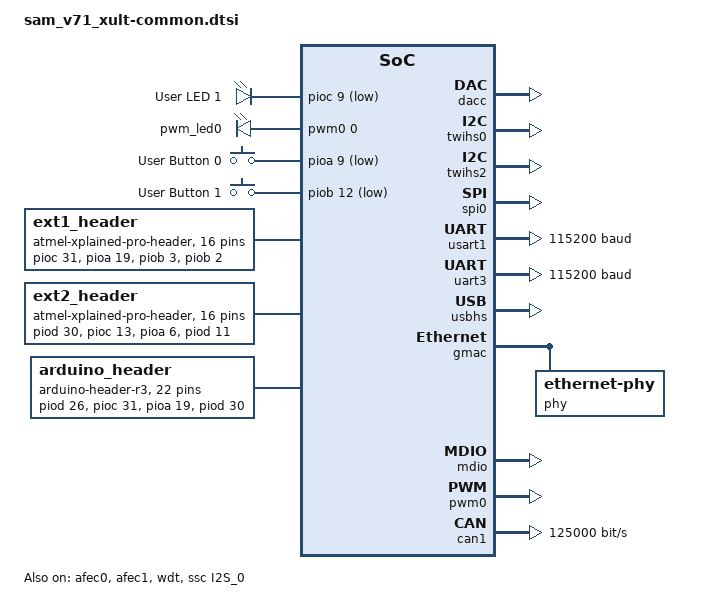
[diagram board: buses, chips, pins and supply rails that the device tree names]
/*
 * Copyright (c) 2017 Piotr Mienkowski
 * Copyright (c) 2017 Justin Watson
 * Copyright (c) 2020 Stephanos Ioannidis <root@stephanos.io>
 * Copyright (c) 2019-2022 Gerson Fernando Budke <nandojve@gmail.com>
 *
 * SPDX-License-Identifier: Apache-2.0
 */

#include "sam_v71_xult-pinctrl.dtsi"

/ {
	aliases {
		i2c-0 = &twihs0;
		i2c-1 = &twihs2;
		led0 = &yellow_led1;
		pwm-led0 = &pwm_led0;
		pwm-0 = &pwm0;
		sw0 = &sw0_user_button;
		sw1 = &sw1_user_button;
		watchdog0 = &wdt;
	};

	chosen {
		zephyr,console = &usart1;
		zephyr,shell-uart = &usart1;
		zephyr,sram = &sram0;
		zephyr,flash = &flash0;
		zephyr,code-partition = &slot0_partition;
		zephyr,canbus = &can1;
	};

	leds {
		compatible = "gpio-leds";
		yellow_led0: led_0 {
			gpios = <&pioa 23 GPIO_ACTIVE_LOW>;
			label = "User LED 0";
			status = "disabled";
		};
		yellow_led1: led_1 {
			gpios = <&pioc 9 GPIO_ACTIVE_LOW>;
			label = "User LED 1";
		};
	};

	pwmleds {
		compatible = "pwm-leds";
		pwm_led0: pwm_led_0 {
			pwms = <&pwm0 0 PWM_MSEC(20)>;
		};
	};

	gpio_keys {
		compatible = "gpio-keys";

		/* The switch is labeled SW300/301 in the schematic, and
		 * labeled SW0 on the board, and labeled ERASE User Button
		 * on docs
		 */
		sw0_user_button: button_1 {
			label = "User Button 0";
			gpios = <&pioa 9 (GPIO_PULL_UP | GPIO_ACTIVE_LOW)>;
		};
		sw1_user_button: button_2 {
			label = "User Button 1";
			gpios = <&piob 12 (GPIO_PULL_UP | GPIO_ACTIVE_LOW)>;
		};
	};

	ext1_header: xplained-pro-connector1 {
		compatible = "atmel-xplained-pro-header";
		#gpio-cells = <2>;
		gpio-map-mask = <0xffffffff 0xffffffc0>;
		gpio-map-pass-thru = <0 0x3f>;		/*           Shared */
		gpio-map =	<0  0 &pioc 31 0>,	/* AFE1 AD6         */
				<1  0 &pioa 19 0>,	/* AFE0 AD8         */
				<2  0 &piob  3 0>,	/* RTS0             */
				<3  0 &piob  2 0>,	/* CTS0             */
				<4  0 &pioa  0 0>,	/* PWMC0_H0         */
				<5  0 &pioc 30 0>,	/* TIOB5            */
				<6  0 &piod 28 0>,	/* WKUP5            */
				<7  0 &pioa  5 0>,	/* GPIO             */
				<8  0 &pioa  3 0>,	/* TWD0        EXT2 */
				<9  0 &pioa  4 0>,	/* TWCK0       EXT2 */
				<10 0 &piob  0 0>,	/* RXD0             */
				<11 0 &piob  1 0>,	/* TXD0             */
				<12 0 &piod 25 0>,	/* SPI0(NPCS1)      */
				<13 0 &piod 21 0>,	/* SPI0(MOSI)  EXT2 */
				<14 0 &piod 20 0>,	/* SPI0(MISO)  EXT2 */
				<15 0 &piod 22 0>;	/* SPI0(SCK)   EXT2 */
							/* GND              */
							/* +3.3V            */
	};

	ext2_header: xplained-pro-connector2 {
		compatible = "atmel-xplained-pro-header";
		#gpio-cells = <2>;
		gpio-map-mask = <0xffffffff 0xffffffc0>;
		gpio-map-pass-thru = <0 0x3f>;		/*           Shared */
		gpio-map =	<0  0 &piod 30 0>,	/* AFE0 AD0         */
				<1  0 &pioc 13 0>,	/* AFE1 AD1         */
				<2  0 &pioa  6 0>,	/* GPIO             */
				<3  0 &piod 11 0>,	/* GPIO             */
				<4  0 &pioc 19 0>,	/* PWMC0_H2         */
				<5  0 &piod 26 0>,	/* PWMC0_L2         */
				<6  0 &pioa  2 0>,	/* WKUP2            */
				<7  0 &pioa 24 0>,	/* GPIO             */
				<8  0 &pioa  3 0>,	/* TWD0        EXT1 */
				<9  0 &pioa  4 0>,	/* TWCK0       EXT1 */
				<10 0 &pioa 21 0>,	/* RXD1             */
				<11 0 &piob  4 0>,	/* TXD1             */
				<12 0 &piod 27 0>,	/* SPI0(NPCS3)      */
				<13 0 &piod 21 0>,	/* SPI0(MOSI)  EXT1 */
				<14 0 &piod 20 0>,	/* SPI0(MISO)  EXT1 */
				<15 0 &piod 22 0>;	/* SPI0(SCK)   EXT1 */
							/* GND              */
							/* +3.3V            */
	};

	arduino_header: connector {
		compatible = "arduino-header-r3";
		#gpio-cells = <2>;
		gpio-map-mask = <0xffffffff 0xffffffc0>;
		gpio-map-pass-thru = <0 0x3f>;		/*           Shared */
		gpio-map =	<0  0 &piod 26 0>,	/*  A0-TD           */
				<1  0 &pioc 31 0>,	/*  A1-AFE1 AD6   y */
				<2  0 &pioa 19 0>,	/*  A2-AFE0 AD8   y */
				<3  0 &piod 30 0>,	/*  A3-AFE0 AD0   y */
				<4  0 &pioc 13 0>,	/*  A4-AFE1 AD1   y */
				<5  0 &pioe  0 0>,	/*  A5-AFE1 AD11    */
				<6  0 &piod 28 0>,	/*  D0-URXD3        */
				<7  0 &piod 30 0>,	/*  D1-UTXD3        */
				<8  0 &pioa  0 0>,	/*  D2-PWMC0_H0     */
				<9  0 &pioa  6 0>,	/*  D3-GPIO         */
				<10 0 &piod 27 0>,	/*  D4-SPI0_NPCS3 y */
				<11 0 &piod 11 0>,	/*  D5-PWMC0_H0     */
				<12 0 &pioc 19 0>,	/*  D6-PWMC0_H2     */
				<13 0 &pioa  2 0>,	/*  D7-PWMC0_H1     */
				<14 0 &pioa  5 0>,	/*  D8-PWMC1_PWML3  */
				<15 0 &pioc  9 0>,	/*  D9-TIOB7        */
				<16 0 &piod 25 0>,	/* D10-SPI0_NPCS1 y */
				<17 0 &piod 21 0>,	/* D11-SPI0_MOSI  y */
				<18 0 &piod 20 0>,	/* D12-SPI0_MISO  y */
				<19 0 &piod 22 0>,	/* D13-SPI0_SPCK  y */
				<20 0 &pioa  3 0>,	/* D14-TWD0       y */
				<21 0 &pioa  4 0>;	/* D15-TWCK0      y */
	};
};

&cpu0 {
	clock-frequency = <300000000>;
};

&afec0 {
	status = "okay";

	pinctrl-0 = <&afec0_default>;
	pinctrl-names = "default";
};

&afec1 {
	status = "okay";

	pinctrl-0 = <&afec1_default>;
	pinctrl-names = "default";
};

&dacc {
	status = "okay";
};

&twihs0 {
	status = "okay";

	pinctrl-0 = <&twihs0_default>;
	pinctrl-names = "default";
};

&twihs2 {
	status = "okay";

	pinctrl-0 = <&twihs2_default>;
	pinctrl-names = "default";
};

&spi0 {
	status = "okay";

	pinctrl-0 = <&spi0_default>;
	pinctrl-names = "default";

	cs-gpios = <&piod 25 GPIO_ACTIVE_LOW>,
		   <&piod 27 GPIO_ACTIVE_LOW>;
};

&usart1 {
	status = "okay";
	current-speed = <115200>;

	pinctrl-0 = <&usart1_default>;
	pinctrl-names = "default";
};

&uart3 {
	status = "okay";
	current-speed = <115200>;


	pinctrl-0 = <&uart3_default>;
	pinctrl-names = "default";
};

&wdt {
	status = "okay";
};

zephyr_udc0: &usbhs {
	status = "okay";
};

&gmac {
	status = "okay";

	pinctrl-0 = <&gmac_rmii>;
	pinctrl-names = "default";

	phy: phy {
		compatible = "ethernet-phy";
		status = "okay";
		address = <0>;
		mdio = <&mdio>;
	};
};

&mdio {
	status = "okay";

	pinctrl-0 = <&mdio_default>;
	pinctrl-names = "default";
};

&pwm0 {
	status = "okay";

	pinctrl-0 = <&pwm_default>;
	pinctrl-names = "default";
};

&pioa {
	status = "okay";
};

&piob {
	status = "okay";
};

&pioc {
	status = "okay";
};

&piod {
	status = "okay";
};

&pioe {
	status = "okay";
};

&flash0 {
	partitions {
		compatible = "fixed-partitions";
		#address-cells = <1>;
		#size-cells = <1>;

		/*
		 * The first half of sector 0 (64 kbytes)
		 * is reserved for the bootloader
		 */
		boot_partition: partition@0 {
			label = "mcuboot";
			reg = <0x0 0x00010000>;
			read-only;
		};

		/* From sector 1 to sector 7 (included): slot0 (896 kbytes) */
		slot0_partition: partition@20000 {
			label = "image-0";
			reg = <0x00020000 0x000e0000>;
		};

		/* From sector 8 to sector 14 (included): slot1 (896 kbytes) */
		slot1_partition: partition@100000 {
			label = "image-1";
			reg = <0x00100000 0x000e0000>;
		};

		/* Sector 15: scratch (128 kbytes) */
		scratch_partition: partition@1e0000 {
			label = "image-scratch";
			reg = <0x001e0000 0x00020000>;
		};
	};
};

&ssc {
	status = "okay";
	label = "I2S_0";

	pinctrl-0 = <&ssc_default>;
	pinctrl-names = "default";

	dma-names = "rx", "tx";
	dmas = <&xdmac 22 DMA_PERID_SSC_RX>, <&xdmac 23 DMA_PERID_SSC_TX>;
};

&can1 {
	status = "okay";

	pinctrl-0 = <&can1_default>;
	pinctrl-names = "default";

	bus-speed = <125000>;
	bus-speed-data = <1000000>;

	can-transceiver {
		max-bitrate = <5000000>;
	};
};

ext1_spi: &spi0 {
};

ext1_i2c: &twihs0 {
};

ext1_serial: &usart0 {
};

ext2_spi: &spi0 {
};

ext2_i2c: &twihs0 {
};

ext2_serial: &usart1 {
};

arduino_spi: &spi0 {
};

arduino_i2c: &twihs0 {
};

arduino_serial: &uart3 {
};
